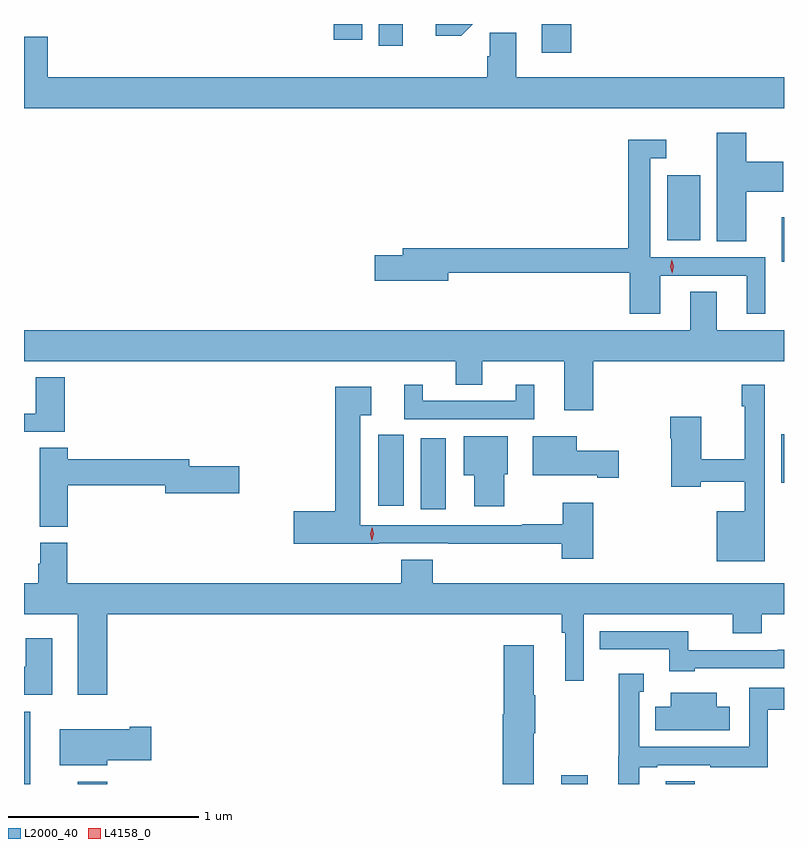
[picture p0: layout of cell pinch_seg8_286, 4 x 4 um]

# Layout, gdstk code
import gdstk
lib = gdstk.Library(unit=1e-6, precision=1e-09)
def R(c, l, rs):  # rectangles x0, y0, x1, y1
    for r in rs: c.add(gdstk.rectangle(r[:2], r[2:], *l))
def P(c, l, *ps):  # polygons
    for p in ps: c.add(gdstk.Polygon(p, *l))
L2000_40 = (2000, 40)
L4158_0 = (4158, 0)

pinch_seg8_286 = lib.new_cell('pinch_seg8_286')
R(pinch_seg8_286, L2000_40, [(562.869,1139.583,562.903,1139.962), (563.153,1139.583,563.306,1139.596), (565.697,1139.583,565.837,1139.629), (566.246,1139.583,566.399,1139.597), (564.956,1141.03,565.09,1141.402), (564.734,1141.047,564.868,1141.422), (566.855,1141.169,566.869,1141.423), (566.858,1142.333,566.869,1142.566), (566.255,1142.444,566.428,1142.788), (565.595,1143.432,565.748,1143.583), (564.737,1143.468,564.862,1143.583), (564.5,1143.501,564.649,1143.583)])
P(pinch_seg8_286, L2000_40, [(565.231,1143.583),(565.035,1143.583),(565.035,1143.522),(565.17,1143.522)],
  [(566.869,1143.304),(565.459,1143.304),(565.459,1143.536),(565.32,1143.536),(565.32,1143.414),(565.307,1143.414),(565.307,1143.304),(562.994,1143.304),(562.994,1143.517),(562.869,1143.517),(562.869,1143.14),(566.869,1143.14)],
  [(566.671,1142.699),(566.864,1142.699),(566.864,1142.857),(566.671,1142.857),(566.671,1143.01),(566.516,1143.01),(566.516,1142.44),(566.671,1142.44)],
  [(566.218,1142.259),(566.672,1142.259),(566.672,1142.058),(566.77,1142.058),(566.77,1142.355),(566.166,1142.355),(566.166,1142.877),(566.248,1142.877),(566.248,1142.974),(566.05,1142.974),(566.05,1142.402),(564.863,1142.402),(564.863,1142.366),(564.714,1142.366),(564.714,1142.231),(565.102,1142.231),(565.102,1142.274),(566.057,1142.274),(566.057,1142.058),(566.218,1142.058)],
  [(565.865,1141.808),(566.869,1141.808),(566.869,1141.972),(566.515,1141.972),(566.515,1142.174),(566.375,1142.174),(566.375,1141.972),(562.869,1141.972),(562.869,1141.808),(565.142,1141.808),(565.142,1141.684),(565.282,1141.684),(565.282,1141.808),(565.712,1141.808),(565.712,1141.551),(565.865,1141.551)],
  [(563.084,1141.723),(562.931,1141.723),(562.931,1141.533),(562.869,1141.533),(562.869,1141.437),(563.084,1141.437)],
  [(566.767,1141.684),(566.646,1141.684),(566.646,1141.571),(566.663,1141.571),(566.663,1141.292),(566.434,1141.292),(566.434,1141.516),(566.269,1141.516),(566.269,1141.403),(566.276,1141.403),(566.276,1141.148),(566.43,1141.148),(566.43,1141.175),(566.663,1141.175),(566.663,1141.018),(566.516,1141.018),(566.516,1140.755),(566.767,1140.755)],
  [(565.555,1141.684),(565.457,1141.684),(565.457,1141.599),(564.967,1141.599),(564.967,1141.684),(564.869,1141.684),(564.869,1141.503),(565.555,1141.503)],
  [(565.865,1141.063),(565.705,1141.063),(565.705,1140.95),(565.492,1140.95),(565.492,1140.945),(564.64,1140.945),(564.64,1141.523),(564.697,1141.523),(564.697,1141.675),(564.506,1141.675),(564.506,1141.019),(564.288,1141.019),(564.288,1140.848),(564.736,1140.848),(564.736,1140.849),(565.102,1140.849),(565.102,1140.848),(565.7,1140.848),(565.7,1140.768),(565.865,1140.768)],
  [(565.396,1141.212),(565.414,1141.212),(565.414,1141.414),(565.184,1141.414),(565.184,1141.208),(565.238,1141.208),(565.238,1141.044),(565.396,1141.044)],
  [(565.999,1141.338),(565.777,1141.338),(565.777,1141.414),(565.547,1141.414),(565.547,1141.208),(565.886,1141.208),(565.886,1141.196),(565.999,1141.196)],
  [(563.099,1141.156),(563.612,1141.156),(563.612,1141.114),(564.001,1141.114),(564.001,1141.256),(563.74,1141.256),(563.74,1141.292),(563.099,1141.292),(563.099,1141.352),(562.952,1141.352),(562.952,1140.937),(563.099,1140.937)],
  [(563.306,1140.476),(565.699,1140.476),(565.699,1140.38),(565.718,1140.38),(565.718,1140.126),(565.815,1140.126),(565.815,1140.476),(566.6,1140.476),(566.6,1140.377),(566.753,1140.377),(566.753,1140.476),(566.869,1140.476),(566.869,1140.64),(565.019,1140.64),(565.019,1140.764),(564.854,1140.764),(564.854,1140.64),(563.096,1140.64),(563.096,1140.852),(562.955,1140.852),(562.955,1140.741),(562.943,1140.741),(562.943,1140.64),(562.869,1140.64),(562.869,1140.476),(563.153,1140.476),(563.153,1140.054),(563.306,1140.054)],
  [(566.4,1140.192),(566.869,1140.192),(566.869,1140.29),(566.836,1140.29),(566.836,1140.288),(566.364,1140.288),(566.364,1140.387),(565.9,1140.387),(565.9,1140.291),(566.264,1140.291),(566.264,1140.176),(566.4,1140.176)],
  [(563.017,1140.349),(562.877,1140.349),(562.877,1140.201),(562.869,1140.201),(562.869,1140.054),(563.017,1140.054)],
  [(565.552,1139.849),(565.56,1139.849),(565.56,1140.049),(565.552,1140.049),(565.552,1140.313),(565.394,1140.313),(565.394,1139.949),(565.388,1139.949),(565.388,1139.583),(565.552,1139.583)],
  [(566.107,1139.67),(566.203,1139.67),(566.203,1139.682),(566.482,1139.682),(566.482,1139.67),(566.784,1139.67),(566.784,1139.974),(566.869,1139.974),(566.869,1140.09),(566.685,1140.09),(566.685,1139.778),(566.106,1139.778),(566.106,1140.069),(566.131,1140.069),(566.131,1140.163),(565.998,1140.163),(565.998,1139.731),(565.997,1139.731),(565.997,1139.583),(566.107,1139.583)],
  [(566.584,1139.989),(566.515,1139.989),(566.515,1140.064),(566.273,1140.064),(566.273,1139.989),(566.191,1139.989),(566.191,1139.867),(566.584,1139.867)],
  [(563.308,1139.707),(563.539,1139.707),(563.539,1139.885),(563.426,1139.885),(563.426,1139.872),(563.057,1139.872),(563.057,1139.681),(563.308,1139.681)])
P(pinch_seg8_286, L4158_0, [(564.7,1140.862),(564.7,1140.862),(564.691,1140.899),(564.703,1140.934),(564.703,1140.934),(564.703,1140.934),(564.711,1140.898),(564.7,1140.862)],
  [(566.28,1142.271),(566.28,1142.271),(566.269,1142.306),(566.278,1142.343),(566.278,1142.343),(566.278,1142.343),(566.289,1142.307),(566.28,1142.271)])

lib.write_gds('pinch_seg8_286.gds')
